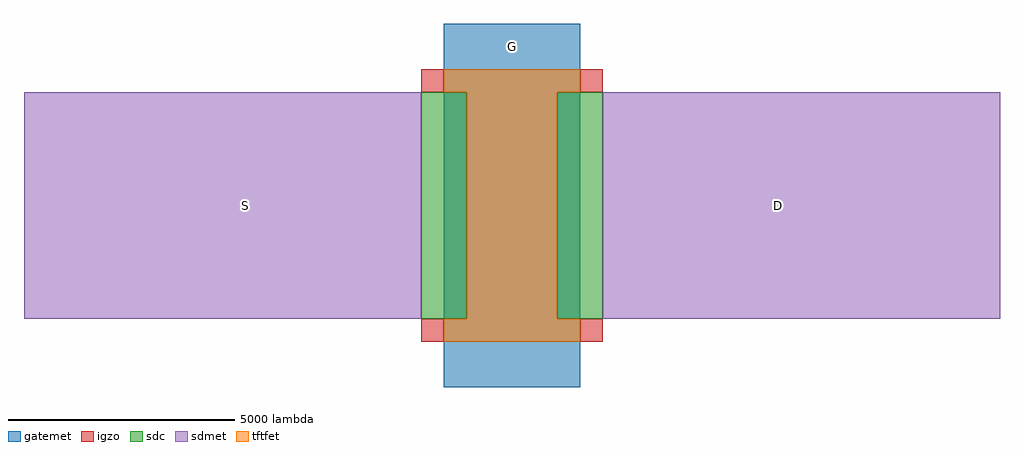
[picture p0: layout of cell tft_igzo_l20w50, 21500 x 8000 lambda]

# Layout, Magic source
magic
tech igzo_mmm_lab
<< igzo >>
rect -2000 2500 -1500 3000
rect 1500 2500 2000 3000
rect -2000 -3000 -1500 -2500
rect 1500 -3000 2000 -2500
<< tftfet >>
rect -1500 2500 1500 3000
rect -1000 -2500 1000 2500
rect -1500 -3000 1500 -2500
<< sdc >>
rect -2000 -2500 -1000 2500
rect 1000 -2500 2000 2500
<< sdmet >>
rect -10750 -2500 -2000 2500
rect 2000 -2500 10750 2500
<< gatemet >>
rect -1500 -4000 1500 4000
<< labels >>
rlabel sdmet s -6125 -250 -5625 250 4 S
port 3 nsew
rlabel sdmet s 5625 -250 6125 250 4 D
port 5 nsew
rlabel gatemet s -250 3250 250 3750 4 G
port 7 nsew
<< end >>
